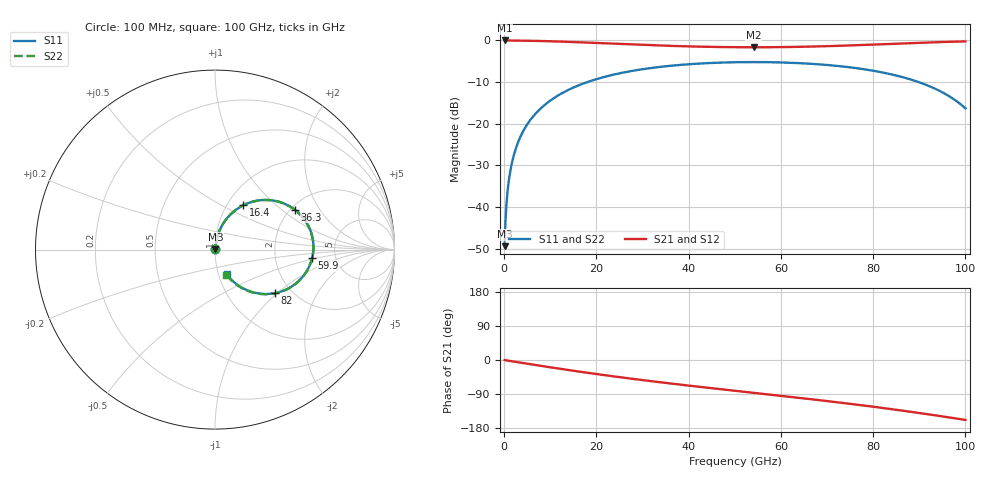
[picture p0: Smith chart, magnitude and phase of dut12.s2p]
! Touchstone file exported from HFSS 2026.1.0
!  File:  C:/ffzhzh/LocalFiles/Ansys_Project_Files/temp_train_RDL_12_1783497670_44152.aedt
!  Generated:  04:02:26 PM Jul  8, 2026
!  Design:  RDL
!  Project:  temp_train_RDL_12_1783497670_44152
! Variables:
!  h_bsmrdl = 2um
!  h_ox = 20um
!  h_rdl = 5um
!  h_sub = 80um
!  h_tmrdl = 2.88um
!  h_tsv = 80um
!  h_via = 3um
!  l_bsmrdl = 300um
!  l_sub = 915.81um
!  l_tmrdl = 515.81um
!  m_sub = 200um
!  pitch = 57.71um
!  r_tsv = 6um
!  s_tmrdl = 10um
!  w_bsmrdl = 18um
!  w_sub = 500um
!  w_tmrdl = 27.74um
!  x_tsv_center1 = 529.68um
!  x_tsv_center2 = 847.68um
!  x_tsv_center3 = 1391.23um
!  x_tsv_center4 = 1709.23um
!  x_tsv_center5 = 2252.78um
!  x_tsv_center6 = 2570.78um
# GHz S MA R 50.000000
! Terminal data exported
! Port[1] = TM_RDL1_1_T1
! Port[2] = TM_RDL1_1_T2
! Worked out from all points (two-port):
!   1000 points, 100 MHz to 100 GHz, reference 50 ohm
!   highest |S21| = -0.02 dB at 100 MHz (marker M1); lowest = -1.7 dB at 54.1 GHz (marker M2)
!   |S21| within 3 dB of the highest: start of sweep to end of sweep
!   lowest |S11| = -49.4 dB at 100 MHz (marker M3), VSWR 1.01, Z = 50.3 + j0.221 ohm
!   |S11| at or under -10 dB: start of sweep to 18.08 GHz; 89.82 GHz to end of sweep
!   |S22| runs from -49.4 to -5.2 dB; largest |S21 - S12| = 1.7e-14
!   S11 on the Smith chart (normalised r, x): 100 MHz: 1.01, +0.00; 16.4 GHz: 1.18, +0.64; 36.3 GHz: 2.10, +1.24; 59.9 GHz: 3.32, -0.43; 82 GHz: 1.65, -0.96; 100 GHz: 1.09, -0.31
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0.1  0.003386 40.5  0.9974 -0.2  0.9974 -0.2  0.003386 40.5
! Gamma 0 0 0 0
! Port Impedance 50 0 50 0
0.8  0.01658 76.9  0.9966 -1.6  0.9966 -1.6  0.01658 76.9
1.1  0.02237 79.0  0.9963 -2.2  0.9963 -2.2  0.02237 79.0
1.4  0.0282 80.1  0.9961 -2.8  0.9961 -2.8  0.0282 80.1
2.5  0.04968 80.8  0.995 -4.9  0.995 -4.9  0.04968 80.7
4  0.07878 79.1  0.9927 -7.8  0.9927 -7.8  0.07878 79.1
6.1  0.1187 75.7  0.988 -11.9  0.988 -11.9  0.1187 75.7
8.8  0.1681 71.0  0.9798 -17.0  0.9798 -17.0  0.1681 70.9
12.2  0.2265 64.9  0.9669 -23.3  0.9669 -23.3  0.2265 64.9
16.4  0.2921 57.6  0.9482 -30.8  0.9482 -30.8  0.2921 57.6
16.8  0.298 56.9  0.9463 -31.5  0.9463 -31.5  0.298 56.9
24.7  0.3987 43.9  0.9077 -44.8  0.9077 -44.8  0.3987 43.9
33.4  0.4774 30.8  0.869 -58.1  0.869 -58.1  0.4774 30.8
36.3  0.4967 26.7  0.8583 -62.3  0.8583 -62.3  0.4967 26.7
50.1  0.5464 8.0  0.8279 -81.3  0.8279 -81.3  0.5464 8.0
54.1  0.5489 2.8  0.8263 -86.6  0.8263 -86.6  0.5489 2.7
59.9  0.5433 -4.8  0.8298 -94.4  0.8298 -94.4  0.5433 -4.9
66.7  0.5225 -14.0  0.8424 -103.7  0.8424 -103.7  0.5226 -14.1
82  0.412 -36.1  0.8989 -126.5  0.8989 -126.5  0.4119 -36.3
83.4  0.3969 -38.3  0.9053 -128.7  0.9053 -128.7  0.3969 -38.5
92.9  0.271 -53.6  0.9477 -145.0  0.9477 -145.0  0.271 -54.0
100  0.1529 -64.6  0.9714 -158.1  0.9714 -158.1  0.1528 -65.6
